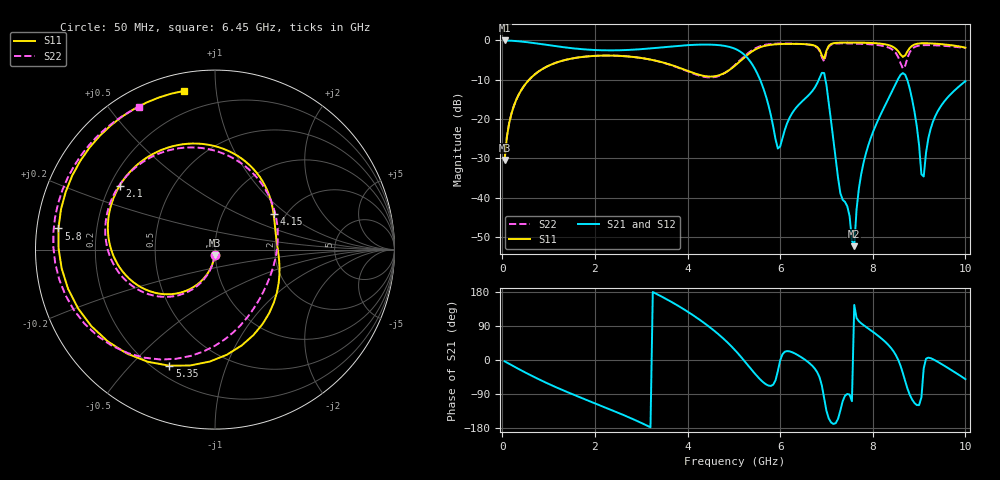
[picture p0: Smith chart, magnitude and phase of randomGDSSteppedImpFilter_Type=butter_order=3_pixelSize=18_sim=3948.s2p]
! freq	dB(S11)	phase(S11)	dB(S12)	phase(S12)
!  dB(S21)	phase(S21)	dB(S22)	phase(S22)
!S-par simulation data
#  GHz  S  DB  R 50
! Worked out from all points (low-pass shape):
!   200 points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, 50 MHz to 10 GHz, reference 50 ohm
!   highest |S21| = -0.01 dB at 50 MHz (marker M1); lowest = -52.3 dB at 7.6 GHz (marker M2)
!   |S21| within 3 dB of the highest: start of sweep to 5.158 GHz
!   lowest |S11| = -30.4 dB at 50 MHz (marker M3), VSWR 1.06, Z = 49.7 - j2.99 ohm
!   |S11| at or under -10 dB: start of sweep to 579.9 MHz
!   |S22| runs from -30.4 to -0.7 dB; largest |S21 - S12| = 0
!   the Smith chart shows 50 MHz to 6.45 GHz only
!   S11 on the Smith chart (normalised r, x): 50 MHz: 0.99, -0.06; 2.1 GHz: 0.24, +0.29; 4.15 GHz: 1.74, +0.80; 5.35 GHz: 0.26, -0.65; 5.8 GHz: 0.06, +0.07; 6.45 GHz: 0.09, +0.82
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0.05  -30.43 -93.7  -0.01 -3.4  -0.01 -3.4  -30.43 -93.5
0.5  -11.10 -124.8  -0.40 -33.2  -0.40 -33.2  -11.10 -122.6
1.75  -4.17 163.8  -2.26 -102.0  -2.26 -102.0  -4.17 171.1
2.1  -3.88 146.1  -2.49 -119.2  -2.49 -119.2  -3.88 154.6
3.4  -5.39 76.5  -1.81 170.1  -1.81 170.1  -5.43 84.3
4.15  -8.37 31.1  -1.11 115.7  -1.11 115.7  -8.54 22.3
4.6  -9.10 -0.7  -1.13 74.9  -1.13 74.9  -9.28 -29.3
5.05  -6.16 -57.3  -2.26 22.7  -2.26 22.7  -5.97 -83.8
5.35  -3.16 -111.5  -5.29 -20.7  -5.29 -20.7  -2.85 -123.2
5.8  -1.11 172.3  -19.06 -68.4  -19.06 -68.4  -0.91 179.2
5.95  -0.96 152.6  -27.49 -29.3  -27.49 -29.3  -0.81 163.5
6.45  -0.91 101.1  -15.77 7.9  -15.77 7.9  -0.90 118.2
6.7  -1.18 78.4  -12.80 -16.0  -12.80 -16.0  -1.25 95.2
6.95  -4.69 74.6  -8.29 -100.8  -8.29 -100.8  -5.39 91.5
7.15  -0.73 61.7  -25.29 -168.9  -25.29 -168.9  -0.88 75.7
7.6  -0.55 27.8  -52.33 145.3  -52.33 145.3  -0.79 31.1
7.8  -0.58 15.0  -31.16 92.1  -31.16 92.1  -0.89 12.2
8.35  -1.22 -20.2  -14.54 38.0  -14.54 38.0  -1.85 -44.2
8.7  -3.82 -21.0  -8.74 -55.8  -8.74 -55.8  -6.42 -45.5
9.1  -0.72 -46.2  -34.61 -22.0  -34.61 -22.0  -1.20 -87.1
9.35  -0.83 -62.6  -19.25 -1.1  -19.25 -1.1  -1.24 -111.1
10  -1.84 -106.7  -10.37 -50.5  -10.37 -50.5  -1.94 -165.3
